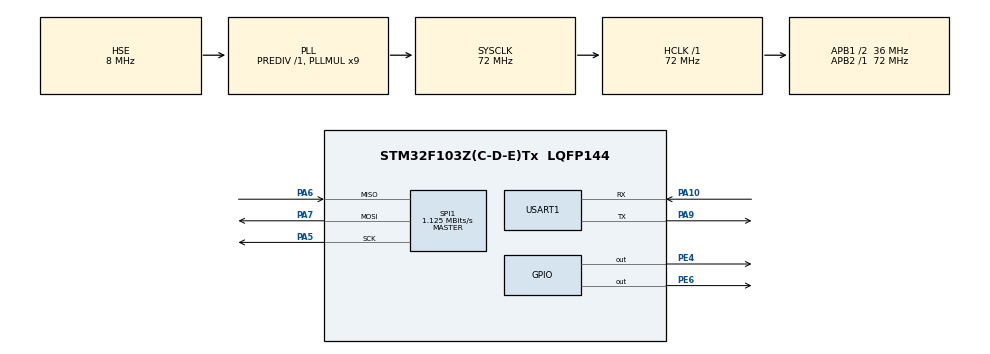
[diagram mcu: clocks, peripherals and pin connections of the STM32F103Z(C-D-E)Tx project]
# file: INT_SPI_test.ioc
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Dma.Request0=SPI1_RX
Dma.Request1=SPI1_TX
Dma.SPI1_RX.0.Direction=DMA_PERIPH_TO_MEMORY
Dma.SPI1_RX.0.Instance=DMA1_Channel2
Dma.SPI1_RX.0.MemDataAlignment=DMA_MDATAALIGN_BYTE
Dma.SPI1_RX.0.MemInc=DMA_MINC_ENABLE
Dma.SPI1_RX.0.Mode=DMA_NORMAL
Dma.SPI1_RX.0.PeriphDataAlignment=DMA_PDATAALIGN_BYTE
Dma.SPI1_RX.0.PeriphInc=DMA_PINC_DISABLE
Dma.SPI1_RX.0.Priority=DMA_PRIORITY_LOW
Dma.SPI1_TX.1.Direction=DMA_MEMORY_TO_PERIPH
Dma.SPI1_TX.1.Instance=DMA1_Channel3
Dma.SPI1_TX.1.MemDataAlignment=DMA_MDATAALIGN_BYTE
Dma.SPI1_TX.1.MemInc=DMA_MINC_ENABLE
Dma.SPI1_TX.1.Mode=DMA_NORMAL
Dma.SPI1_TX.1.PeriphDataAlignment=DMA_PDATAALIGN_BYTE
Dma.SPI1_TX.1.PeriphInc=DMA_PINC_DISABLE
Dma.SPI1_TX.1.Priority=DMA_PRIORITY_LOW
Mcu.Family=STM32F1
Mcu.Name=STM32F103Z(C-D-E)Tx
Mcu.Package=LQFP144
NVIC.DMA1_Channel2_IRQn=true\:0\:0\:false\:false\:true\:false\:true\:true
NVIC.DMA1_Channel3_IRQn=true\:0\:0\:false\:false\:true\:false\:true\:true
NVIC.PriorityGroup=NVIC_PRIORITYGROUP_4
NVIC.SPI1_IRQn=true\:0\:0\:true\:false\:true\:true\:true\:true
NVIC.USART1_IRQn=true\:0\:0\:false\:false\:true\:false\:true\:true
OSC_IN.Mode=HSE-External-Oscillator
OSC_IN.Signal=RCC_OSC_IN
OSC_OUT.Mode=HSE-External-Oscillator
OSC_OUT.Signal=RCC_OSC_OUT
PA10.Mode=Asynchronous
PA10.Signal=USART1_RX
PA13.Mode=Serial_Wire
PA13.Signal=SYS_JTMS-SWDIO
PA14.Mode=Serial_Wire
PA14.Signal=SYS_JTCK-SWCLK
PA5.Mode=Full_Duplex_Master
PA5.Signal=SPI1_SCK
PA6.Mode=Full_Duplex_Master
PA6.Signal=SPI1_MISO
PA7.Mode=Full_Duplex_Master
PA7.Signal=SPI1_MOSI
PA9.Mode=Asynchronous
PA9.Signal=USART1_TX
PE4.PinState=GPIO_PIN_SET
PE4.Signal=GPIO_Output
PE6.PinState=GPIO_PIN_SET
PE6.Signal=GPIO_Output
ProjectManager.HeapSize=0x200
ProjectManager.StackSize=0x400
ProjectManager.TargetToolchain=MDK-ARM V5.32
RCC.AHBFreq_Value=72000000
RCC.APB1CLKDivider=RCC_HCLK_DIV2
RCC.APB1Freq_Value=36000000
RCC.APB1TimFreq_Value=72000000
RCC.APB2Freq_Value=72000000
RCC.APB2TimFreq_Value=72000000
RCC.HCLKFreq_Value=72000000
RCC.PLLMUL=RCC_PLL_MUL9
RCC.PLLSourceVirtual=RCC_PLLSOURCE_HSE
RCC.SYSCLKFreq_VALUE=72000000
RCC.SYSCLKSource=RCC_SYSCLKSOURCE_PLLCLK
RCC.USBFreq_Value=72000000
SPI1.BaudRatePrescaler=SPI_BAUDRATEPRESCALER_64
SPI1.CalculateBaudRate=1.125 MBits/s
SPI1.Direction=SPI_DIRECTION_2LINES
SPI1.Mode=SPI_MODE_MASTER
SPI1.VirtualType=VM_MASTER
USART1.Parity=PARITY_ODD
USART1.VirtualMode=VM_ASYNC
USART1.WordLength=WORDLENGTH_9B
board=custom

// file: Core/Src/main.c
/* USER CODE BEGIN Header */
/**
 ******************************************************************************
 * @file           : main.c
 * @brief          : Main program body
 ******************************************************************************
 * @attention
 *
 * Copyright (c) 2026 STMicroelectronics.
 * All rights reserved.
 *
 * This software is licensed under terms that can be found in the LICENSE file
 * in the root directory of this software component.
 * If no LICENSE file comes with this software, it is provided AS-IS.
 *
 ******************************************************************************
 */
/* USER CODE END Header */
#include "main.h"

/* USER CODE BEGIN Includes */
#include "BSP_Usart_Redir.h"
#include <stdbool.h>
/* USER CODE END Includes */

SPI_HandleTypeDef hspi1;
DMA_HandleTypeDef hdma_spi1_rx;
DMA_HandleTypeDef hdma_spi1_tx;

UART_HandleTypeDef huart1;

/* USER CODE BEGIN PV */

// version1
uint8_t tx_buffer[4] = {0x9F, 0x00, 0x00, 0x00};
uint8_t rx_buffer[4] = {0x00};
volatile uint32_t id = 0;
volatile bool is_JEDEC_ready = false;

// version2
// uint8_t cmd = 0x9F;
// uint8_t rx_buffer[3] = {0x00, 0x00, 0x00};
// volatile uint32_t id = 0;
// volatile bool is_JEDEC_ready = false;
/* USER CODE END PV */

void SystemClock_Config(void);
static void MX_GPIO_Init(void);
static void MX_DMA_Init(void);
static void MX_SPI1_Init(void);
static void MX_USART1_UART_Init(void);
/* USER CODE BEGIN PFP */
void W25Qxx_CS_Enable(void);
void W25Qxx_CS_Disable(void);
// void W25Qxx_ReadID_IT(void);
void W25Qxx_ReadID_Version2_DMA(void);
void W25Qxx_ReadID_DMA(void);
/* USER CODE END PFP */

int main(void)
{

  /* MCU Configuration--------------------------------------------------------*/

  /* Reset of all peripherals, Initializes the Flash interface and the Systick. */
  HAL_Init();

  /* Configure the system clock */
  SystemClock_Config();

  /* Initialize all configured peripherals */
  MX_GPIO_Init();
  MX_DMA_Init();
  MX_SPI1_Init();
  MX_USART1_UART_Init();
  /* USER CODE BEGIN 2 */
  BSP_Usart_Init(&huart1);
  // W25Qxx_ReadID_IT(); // 以中断的方式获取ID！
  // W25Qxx_ReadID_Version2_DMA();
  W25Qxx_ReadID_DMA();
  /* USER CODE END 2 */

  /* Infinite loop */
  /* USER CODE BEGIN WHILE */
  while (1)
  {
    if (is_JEDEC_ready)
    {
      printf("JEDEC ID: 0x%x\n", id);
      is_JEDEC_ready = false;
    }
    /* USER CODE END WHILE */

  }
}

void SystemClock_Config(void)
{
  RCC_OscInitTypeDef RCC_OscInitStruct = {0};
  RCC_ClkInitTypeDef RCC_ClkInitStruct = {0};

  /** Initializes the RCC Oscillators according to the specified parameters
  * in the RCC_OscInitTypeDef structure.
  */
  RCC_OscInitStruct.OscillatorType = RCC_OSCILLATORTYPE_HSE;
  RCC_OscInitStruct.HSEState = RCC_HSE_ON;
  RCC_OscInitStruct.HSEPredivValue = RCC_HSE_PREDIV_DIV1;
  RCC_OscInitStruct.HSIState = RCC_HSI_ON;
  RCC_OscInitStruct.PLL.PLLState = RCC_PLL_ON;
  RCC_OscInitStruct.PLL.PLLSource = RCC_PLLSOURCE_HSE;
  RCC_OscInitStruct.PLL.PLLMUL = RCC_PLL_MUL9;
  if (HAL_RCC_OscConfig(&RCC_OscInitStruct) != HAL_OK)
  {
    Error_Handler();
  }

  /** Initializes the CPU, AHB and APB buses clocks
  */
  RCC_ClkInitStruct.ClockType = RCC_CLOCKTYPE_HCLK|RCC_CLOCKTYPE_SYSCLK
                              |RCC_CLOCKTYPE_PCLK1|RCC_CLOCKTYPE_PCLK2;
  RCC_ClkInitStruct.SYSCLKSource = RCC_SYSCLKSOURCE_PLLCLK;
  RCC_ClkInitStruct.AHBCLKDivider = RCC_SYSCLK_DIV1;
  RCC_ClkInitStruct.APB1CLKDivider = RCC_HCLK_DIV2;
  RCC_ClkInitStruct.APB2CLKDivider = RCC_HCLK_DIV1;

  if (HAL_RCC_ClockConfig(&RCC_ClkInitStruct, FLASH_LATENCY_2) != HAL_OK)
  {
    Error_Handler();
  }
}

static void MX_SPI1_Init(void)
{

  /* SPI1 parameter configuration*/
  hspi1.Instance = SPI1;
  hspi1.Init.Mode = SPI_MODE_MASTER;
  hspi1.Init.Direction = SPI_DIRECTION_2LINES;
  hspi1.Init.DataSize = SPI_DATASIZE_8BIT;
  hspi1.Init.CLKPolarity = SPI_POLARITY_LOW;
  hspi1.Init.CLKPhase = SPI_PHASE_1EDGE;
  hspi1.Init.NSS = SPI_NSS_SOFT;
  hspi1.Init.BaudRatePrescaler = SPI_BAUDRATEPRESCALER_64;
  hspi1.Init.FirstBit = SPI_FIRSTBIT_MSB;
  hspi1.Init.TIMode = SPI_TIMODE_DISABLE;
  hspi1.Init.CRCCalculation = SPI_CRCCALCULATION_DISABLE;
  hspi1.Init.CRCPolynomial = 10;
  if (HAL_SPI_Init(&hspi1) != HAL_OK)
  {
    Error_Handler();
  }

}

static void MX_USART1_UART_Init(void)
{

  huart1.Instance = USART1;
  huart1.Init.BaudRate = 115200;
  huart1.Init.WordLength = UART_WORDLENGTH_9B;
  huart1.Init.StopBits = UART_STOPBITS_1;
  huart1.Init.Parity = UART_PARITY_ODD;
  huart1.Init.Mode = UART_MODE_TX_RX;
  huart1.Init.HwFlowCtl = UART_HWCONTROL_NONE;
  huart1.Init.OverSampling = UART_OVERSAMPLING_16;
  if (HAL_UART_Init(&huart1) != HAL_OK)
  {
    Error_Handler();
  }

}

static void MX_DMA_Init(void)
{

  /* DMA controller clock enable */
  __HAL_RCC_DMA1_CLK_ENABLE();

  /* DMA interrupt init */
  /* DMA1_Channel2_IRQn interrupt configuration */
  HAL_NVIC_SetPriority(DMA1_Channel2_IRQn, 0, 0);
  HAL_NVIC_EnableIRQ(DMA1_Channel2_IRQn);
  /* DMA1_Channel3_IRQn interrupt configuration */
  HAL_NVIC_SetPriority(DMA1_Channel3_IRQn, 0, 0);
  HAL_NVIC_EnableIRQ(DMA1_Channel3_IRQn);

}

static void MX_GPIO_Init(void)
{
  GPIO_InitTypeDef GPIO_InitStruct = {0};

  /* GPIO Ports Clock Enable */
  __HAL_RCC_GPIOE_CLK_ENABLE();
  __HAL_RCC_GPIOA_CLK_ENABLE();

  /*Configure GPIO pin Output Level */
  HAL_GPIO_WritePin(GPIOE, GPIO_PIN_4|GPIO_PIN_6, GPIO_PIN_SET);

  /*Configure GPIO pins : PE4 PE6 */
  GPIO_InitStruct.Pin = GPIO_PIN_4|GPIO_PIN_6;
  GPIO_InitStruct.Mode = GPIO_MODE_OUTPUT_PP;
  GPIO_InitStruct.Pull = GPIO_NOPULL;
  GPIO_InitStruct.Speed = GPIO_SPEED_FREQ_LOW;
  HAL_GPIO_Init(GPIOE, &GPIO_InitStruct);

}

/* USER CODE BEGIN 4 */

// void W25Qxx_ReadID_IT(void)
// {
//   W25Qxx_CS_Enable();
//   HAL_StatusTypeDef state = HAL_SPI_TransmitReceive_IT(&hspi1, tx_buffer, rx_buffer, 4); // 非阻塞的
//   if(state == HAL_OK)
//   {
//     printf("SPI Enable Interrupt TransmitReceive Success\n");
//   }
//   else
//   {
//     W25Qxx_CS_Disable(); // 关闭片选
//     printf("SPI Enable Interrupt TransmitReceive Failed\n");
//   }
// }
// // 收发完成对应的回调函数
// // 走到这里，我们把数据交换完了吗？？完了！！
// void HAL_SPI_TxRxCpltCallback(SPI_HandleTypeDef *hspi)
// {
//   if(hspi == &hspi1)
//   {
//     W25Qxx_CS_Disable();
//     id = ((rx_buffer[1]<<16) | (rx_buffer[2]<<8) | rx_buffer[3]);
//     is_JEDEC_ready = true;
//   }
// }

void W25Qxx_ReadID_DMA(void)
{
  W25Qxx_CS_Enable();
  HAL_StatusTypeDef state = HAL_SPI_TransmitReceive_DMA(&hspi1, tx_buffer, rx_buffer, 4); // 非阻塞的
  if(state == HAL_OK)
  {
    printf("SPI Enable Interrupt TransmitReceive Success\n");
  }
  else
  {
    W25Qxx_CS_Disable(); // 关闭片选
    printf("SPI Enable Interrupt TransmitReceive Failed\n");
  }
}
// 收发完成对应的回调函数
// 走到这里，我们把数据交换完了吗？？完了！！
void HAL_SPI_TxRxCpltCallback(SPI_HandleTypeDef *hspi)
{
  if(hspi == &hspi1)
  {
    W25Qxx_CS_Disable();
    id = ((rx_buffer[1]<<16) | (rx_buffer[2]<<8) | rx_buffer[3]);
    is_JEDEC_ready = true;
  }
}

// void W25Qxx_ReadID_Version2_DMA(void)
// {
//   W25Qxx_CS_Enable();
//   HAL_StatusTypeDef state = HAL_SPI_Transmit_DMA(&hspi1, &cmd, sizeof(cmd));
//   if (state == HAL_OK)
//   {
//     printf("SPI Enable Interrupt Transmit Success\n");
//   }
//   else
//   {
//     W25Qxx_CS_Disable();
//     printf("SPI Enable Interrupt Transmit Failed\n");
//   }
// }

// // 只发中断回调,发完了，cmd
// void HAL_SPI_TxCpltCallback(SPI_HandleTypeDef *hspi)
// {
//   if (hspi == &hspi1)
//   {
//     HAL_StatusTypeDef state = HAL_SPI_Receive_DMA(&hspi1, rx_buffer, sizeof(rx_buffer) / sizeof(rx_buffer[0]));
//     if (state != HAL_OK)
//     {
//       W25Qxx_CS_Disable();
//     }
//   }
// }

// // 只读中断回调，走到这里，数据读完了吗？？完了！！
// void HAL_SPI_RxCpltCallback(SPI_HandleTypeDef *hspi)
// {
//   if(hspi == &hspi1)
//   {
//     W25Qxx_CS_Disable();
//     id = ((rx_buffer[0] << 16) | (rx_buffer[1]<<8) | rx_buffer[0]);
//     is_JEDEC_ready = true;
//   }
// }

// void HAL_SPI_ErrorCallback(SPI_HandleTypeDef *hspi)
// {
//   if(hspi == &hspi1)
//   {
//     W25Qxx_CS_Disable();
//     id=0;
//     is_JEDEC_ready = false;
//     // printf()
//   }
// }

void W25Qxx_CS_Enable(void)
{
  HAL_GPIO_WritePin(GPIOE, GPIO_PIN_6, GPIO_PIN_RESET);
}

void W25Qxx_CS_Disable(void)
{
  HAL_GPIO_WritePin(GPIOE, GPIO_PIN_6, GPIO_PIN_SET);
}

/* USER CODE END 4 */

void Error_Handler(void)
{
  __disable_irq();
  while (1)
  {
  }
}
